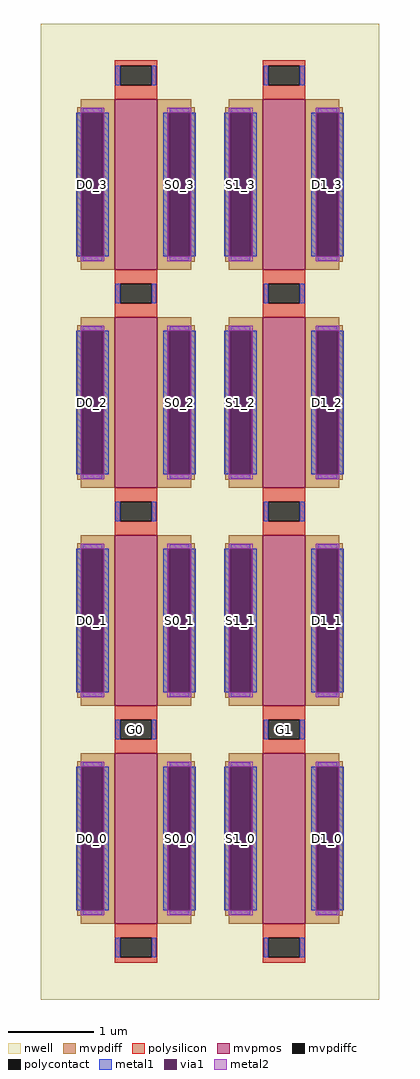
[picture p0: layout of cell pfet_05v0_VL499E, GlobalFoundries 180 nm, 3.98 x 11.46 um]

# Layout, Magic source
magic
tech gf180mcuD
magscale 1 10
<< nwell >>
rect -398 -1146 398 1146
<< mvpmos >>
rect -224 568 -124 968
rect 124 568 224 968
rect -224 56 -124 456
rect 124 56 224 456
rect -224 -456 -124 -56
rect 124 -456 224 -56
rect -224 -968 -124 -568
rect 124 -968 224 -568
<< mvpdiff >>
rect -304 949 -224 968
rect -312 936 -224 949
rect -312 600 -299 936
rect -253 600 -224 936
rect -312 587 -224 600
rect -304 568 -224 587
rect -124 949 -44 968
rect 44 949 124 968
rect -124 936 -36 949
rect -124 600 -95 936
rect -49 600 -36 936
rect -124 587 -36 600
rect 36 936 124 949
rect 36 600 49 936
rect 95 600 124 936
rect 36 587 124 600
rect -124 568 -44 587
rect 44 568 124 587
rect 224 949 304 968
rect 224 936 312 949
rect 224 600 253 936
rect 299 600 312 936
rect 224 587 312 600
rect 224 568 304 587
rect -304 437 -224 456
rect -312 424 -224 437
rect -312 88 -299 424
rect -253 88 -224 424
rect -312 75 -224 88
rect -304 56 -224 75
rect -124 437 -44 456
rect 44 437 124 456
rect -124 424 -36 437
rect -124 88 -95 424
rect -49 88 -36 424
rect -124 75 -36 88
rect 36 424 124 437
rect 36 88 49 424
rect 95 88 124 424
rect 36 75 124 88
rect -124 56 -44 75
rect 44 56 124 75
rect 224 437 304 456
rect 224 424 312 437
rect 224 88 253 424
rect 299 88 312 424
rect 224 75 312 88
rect 224 56 304 75
rect -304 -75 -224 -56
rect -312 -88 -224 -75
rect -312 -424 -299 -88
rect -253 -424 -224 -88
rect -312 -437 -224 -424
rect -304 -456 -224 -437
rect -124 -75 -44 -56
rect 44 -75 124 -56
rect -124 -88 -36 -75
rect -124 -424 -95 -88
rect -49 -424 -36 -88
rect -124 -437 -36 -424
rect 36 -88 124 -75
rect 36 -424 49 -88
rect 95 -424 124 -88
rect 36 -437 124 -424
rect -124 -456 -44 -437
rect 44 -456 124 -437
rect 224 -75 304 -56
rect 224 -88 312 -75
rect 224 -424 253 -88
rect 299 -424 312 -88
rect 224 -437 312 -424
rect 224 -456 304 -437
rect -304 -587 -224 -568
rect -312 -600 -224 -587
rect -312 -936 -299 -600
rect -253 -936 -224 -600
rect -312 -949 -224 -936
rect -304 -968 -224 -949
rect -124 -587 -44 -568
rect 44 -587 124 -568
rect -124 -600 -36 -587
rect -124 -936 -95 -600
rect -49 -936 -36 -600
rect -124 -949 -36 -936
rect 36 -600 124 -587
rect 36 -936 49 -600
rect 95 -936 124 -600
rect 36 -949 124 -936
rect -124 -968 -44 -949
rect 44 -968 124 -949
rect 224 -587 304 -568
rect 224 -600 312 -587
rect 224 -936 253 -600
rect 299 -936 312 -600
rect 224 -949 312 -936
rect 224 -968 304 -949
<< mvpdiffc >>
rect -299 600 -253 936
rect -95 600 -49 936
rect 49 600 95 936
rect 253 600 299 936
rect -299 88 -253 424
rect -95 88 -49 424
rect 49 88 95 424
rect 253 88 299 424
rect -299 -424 -253 -88
rect -95 -424 -49 -88
rect 49 -424 95 -88
rect 253 -424 299 -88
rect -299 -936 -253 -600
rect -95 -936 -49 -600
rect 49 -936 95 -600
rect 253 -936 299 -600
<< polysilicon >>
rect -224 1047 -124 1060
rect -224 1001 -211 1047
rect -137 1001 -124 1047
rect -224 968 -124 1001
rect 124 1047 224 1060
rect 124 1001 137 1047
rect 211 1001 224 1047
rect 124 968 224 1001
rect -224 535 -124 568
rect -224 489 -211 535
rect -137 489 -124 535
rect -224 456 -124 489
rect 124 535 224 568
rect 124 489 137 535
rect 211 489 224 535
rect 124 456 224 489
rect -224 23 -124 56
rect -224 -23 -211 23
rect -137 -23 -124 23
rect -224 -56 -124 -23
rect 124 23 224 56
rect 124 -23 137 23
rect 211 -23 224 23
rect 124 -56 224 -23
rect -224 -489 -124 -456
rect -224 -535 -211 -489
rect -137 -535 -124 -489
rect -224 -568 -124 -535
rect 124 -489 224 -456
rect 124 -535 137 -489
rect 211 -535 224 -489
rect 124 -568 224 -535
rect -224 -1001 -124 -968
rect -224 -1047 -211 -1001
rect -137 -1047 -124 -1001
rect -224 -1060 -124 -1047
rect 124 -1001 224 -968
rect 124 -1047 137 -1001
rect 211 -1047 224 -1001
rect 124 -1060 224 -1047
<< polycontact >>
rect -211 1001 -137 1047
rect 137 1001 211 1047
rect -211 489 -137 535
rect 137 489 211 535
rect -211 -23 -137 23
rect 137 -23 211 23
rect -211 -535 -137 -489
rect 137 -535 211 -489
rect -211 -1047 -137 -1001
rect 137 -1047 211 -1001
<< metal1 >>
rect -222 1001 -211 1047
rect -137 1001 -126 1047
rect 126 1001 137 1047
rect 211 1001 222 1047
rect -299 936 -253 947
rect -95 936 -49 947
rect 49 936 95 947
rect 253 936 299 947
rect -314 600 -302 936
rect -250 600 -238 936
rect -110 600 -98 936
rect -46 600 -34 936
rect 34 600 46 936
rect 98 600 110 936
rect 238 600 250 936
rect 302 600 314 936
rect -299 589 -253 600
rect -95 589 -49 600
rect 49 589 95 600
rect 253 589 299 600
rect -222 489 -211 535
rect -137 489 -126 535
rect 126 489 137 535
rect 211 489 222 535
rect -299 424 -253 435
rect -95 424 -49 435
rect 49 424 95 435
rect 253 424 299 435
rect -314 88 -302 424
rect -250 88 -238 424
rect -110 88 -98 424
rect -46 88 -34 424
rect 34 88 46 424
rect 98 88 110 424
rect 238 88 250 424
rect 302 88 314 424
rect -299 77 -253 88
rect -95 77 -49 88
rect 49 77 95 88
rect 253 77 299 88
rect -222 -23 -211 23
rect -137 -23 -126 23
rect 126 -23 137 23
rect 211 -23 222 23
rect -299 -88 -253 -77
rect -95 -88 -49 -77
rect 49 -88 95 -77
rect 253 -88 299 -77
rect -314 -424 -302 -88
rect -250 -424 -238 -88
rect -110 -424 -98 -88
rect -46 -424 -34 -88
rect 34 -424 46 -88
rect 98 -424 110 -88
rect 238 -424 250 -88
rect 302 -424 314 -88
rect -299 -435 -253 -424
rect -95 -435 -49 -424
rect 49 -435 95 -424
rect 253 -435 299 -424
rect -222 -535 -211 -489
rect -137 -535 -126 -489
rect 126 -535 137 -489
rect 211 -535 222 -489
rect -299 -600 -253 -589
rect -95 -600 -49 -589
rect 49 -600 95 -589
rect 253 -600 299 -589
rect -314 -936 -302 -600
rect -250 -936 -238 -600
rect -110 -936 -98 -600
rect -46 -936 -34 -600
rect 34 -936 46 -600
rect 98 -936 110 -600
rect 238 -936 250 -600
rect 302 -936 314 -600
rect -299 -947 -253 -936
rect -95 -947 -49 -936
rect 49 -947 95 -936
rect 253 -947 299 -936
rect -222 -1047 -211 -1001
rect -137 -1047 -126 -1001
rect 126 -1047 137 -1001
rect 211 -1047 222 -1001
<< via1 >>
rect -302 600 -299 936
rect -299 600 -253 936
rect -253 600 -250 936
rect -98 600 -95 936
rect -95 600 -49 936
rect -49 600 -46 936
rect 46 600 49 936
rect 49 600 95 936
rect 95 600 98 936
rect 250 600 253 936
rect 253 600 299 936
rect 299 600 302 936
rect -302 88 -299 424
rect -299 88 -253 424
rect -253 88 -250 424
rect -98 88 -95 424
rect -95 88 -49 424
rect -49 88 -46 424
rect 46 88 49 424
rect 49 88 95 424
rect 95 88 98 424
rect 250 88 253 424
rect 253 88 299 424
rect 299 88 302 424
rect -302 -424 -299 -88
rect -299 -424 -253 -88
rect -253 -424 -250 -88
rect -98 -424 -95 -88
rect -95 -424 -49 -88
rect -49 -424 -46 -88
rect 46 -424 49 -88
rect 49 -424 95 -88
rect 95 -424 98 -88
rect 250 -424 253 -88
rect 253 -424 299 -88
rect 299 -424 302 -88
rect -302 -936 -299 -600
rect -299 -936 -253 -600
rect -253 -936 -250 -600
rect -98 -936 -95 -600
rect -95 -936 -49 -600
rect -49 -936 -46 -600
rect 46 -936 49 -600
rect 49 -936 95 -600
rect 95 -936 98 -600
rect 250 -936 253 -600
rect 253 -936 299 -600
rect 299 -936 302 -600
<< metal2 >>
rect -304 936 -248 948
rect -304 600 -302 936
rect -250 600 -248 936
rect -304 588 -248 600
rect -100 936 -44 948
rect -100 600 -98 936
rect -46 600 -44 936
rect -100 588 -44 600
rect 44 936 100 948
rect 44 600 46 936
rect 98 600 100 936
rect 44 588 100 600
rect 248 936 304 948
rect 248 600 250 936
rect 302 600 304 936
rect 248 588 304 600
rect -304 424 -248 436
rect -304 88 -302 424
rect -250 88 -248 424
rect -304 76 -248 88
rect -100 424 -44 436
rect -100 88 -98 424
rect -46 88 -44 424
rect -100 76 -44 88
rect 44 424 100 436
rect 44 88 46 424
rect 98 88 100 424
rect 44 76 100 88
rect 248 424 304 436
rect 248 88 250 424
rect 302 88 304 424
rect 248 76 304 88
rect -304 -88 -248 -76
rect -304 -424 -302 -88
rect -250 -424 -248 -88
rect -304 -436 -248 -424
rect -100 -88 -44 -76
rect -100 -424 -98 -88
rect -46 -424 -44 -88
rect -100 -436 -44 -424
rect 44 -88 100 -76
rect 44 -424 46 -88
rect 98 -424 100 -88
rect 44 -436 100 -424
rect 248 -88 304 -76
rect 248 -424 250 -88
rect 302 -424 304 -88
rect 248 -436 304 -424
rect -304 -600 -248 -588
rect -304 -936 -302 -600
rect -250 -936 -248 -600
rect -304 -948 -248 -936
rect -100 -600 -44 -588
rect -100 -936 -98 -600
rect -46 -936 -44 -600
rect -100 -948 -44 -936
rect 44 -600 100 -588
rect 44 -936 46 -600
rect 98 -936 100 -600
rect 44 -948 100 -936
rect 248 -600 304 -588
rect 248 -936 250 -600
rect 302 -936 304 -600
rect 248 -948 304 -936
<< labels >>
rlabel mvpdiffc -276 -768 -276 -768 0 D0_0
port 1 nsew
rlabel mvpdiffc -72 -768 -72 -768 0 S0_0
port 2 nsew
rlabel polycontact -174 -512 -174 -512 0 G0
port 3 nsew
rlabel mvpdiffc -276 -256 -276 -256 0 D0_1
port 4 nsew
rlabel mvpdiffc -72 -256 -72 -256 0 S0_1
port 5 nsew
rlabel mvpdiffc -276 256 -276 256 0 D0_2
port 6 nsew
rlabel mvpdiffc -72 256 -72 256 0 S0_2
port 7 nsew
rlabel mvpdiffc -276 768 -276 768 0 D0_3
port 8 nsew
rlabel mvpdiffc -72 768 -72 768 0 S0_3
port 9 nsew
rlabel mvpdiffc 276 -768 276 -768 0 D1_0
port 10 nsew
rlabel mvpdiffc 72 -768 72 -768 0 S1_0
port 11 nsew
rlabel polycontact 174 -512 174 -512 0 G1
port 12 nsew
rlabel mvpdiffc 276 -256 276 -256 0 D1_1
port 13 nsew
rlabel mvpdiffc 72 -256 72 -256 0 S1_1
port 14 nsew
rlabel mvpdiffc 276 256 276 256 0 D1_2
port 15 nsew
rlabel mvpdiffc 72 256 72 256 0 S1_2
port 16 nsew
rlabel mvpdiffc 276 768 276 768 0 D1_3
port 17 nsew
rlabel mvpdiffc 72 768 72 768 0 S1_3
port 18 nsew
<< properties >>
string gencell pfet_05v0
string library gf180mcu
string parameters w 2.0 l 0.5 m 4 nf 2 diffcov 90 polycov 20 guard 0 glc 1 grc 1 gtc 0 gbc 0 tbcov 100 rlcov 100 topc 1 botc 1 poverlap 1 doverlap 0 lmin 0.5 wmin 0.3 class mosfet full_metal 0 viasrc 90 viadrn 90 viagate 0 viagb 0 viagr 0 viagl 0 viagt 0 doports 1 compatible {pfet_03v3 pfet_05v0 pfet_06v0}
<< end >>
